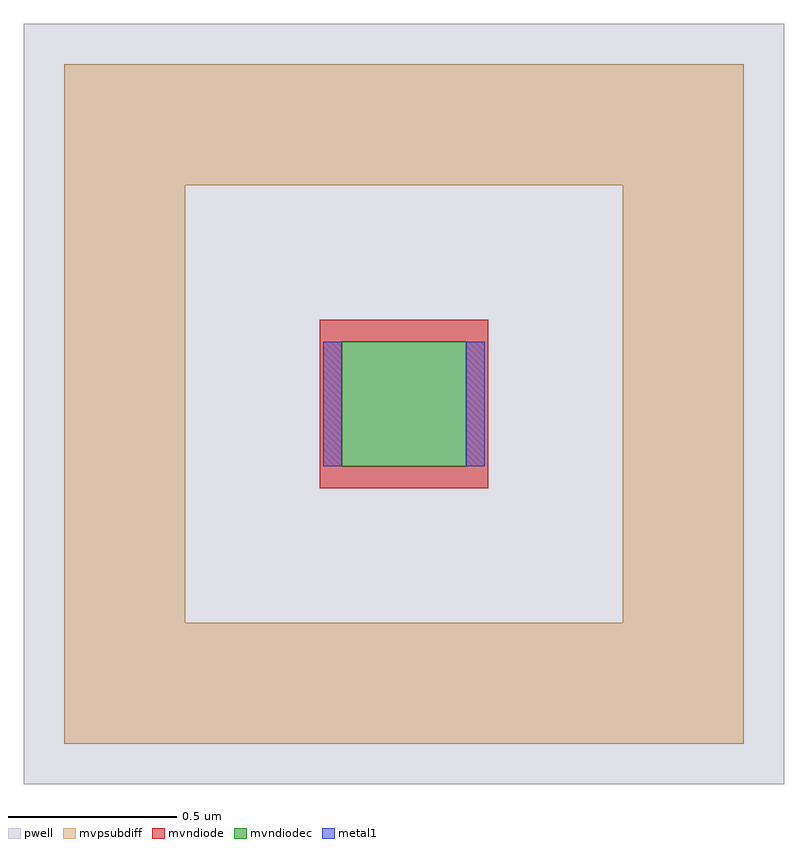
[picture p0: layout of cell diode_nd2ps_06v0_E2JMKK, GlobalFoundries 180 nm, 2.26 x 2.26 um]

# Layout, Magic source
magic
tech gf180mcuD
magscale 1 10
<< pwell >>
rect -226 -226 226 226
<< mvpsubdiff >>
rect -202 130 202 202
rect -202 -130 -130 130
rect 130 -130 202 130
rect -202 -202 202 -130
<< mvndiode >>
rect -50 37 50 50
rect -50 -37 -37 37
rect 37 -37 50 37
rect -50 -50 50 -37
<< mvndiodec >>
rect -37 -37 37 37
<< metal1 >>
rect -48 -37 -37 37
rect 37 -37 48 37
<< properties >>
string FIXED_BBOX -166 -166 166 166
string gencell diode_nd2ps_06v0
string library gf180mcu
string parameters w 0.5 l 0.5 area 250.0m peri 2.0 nx 1 ny 1 dummy 0 lmin 0.45 wmin 0.45 class diode elc 0 erc 0 etc 0 ebc 0 doverlap 0 full_metal 0 compatible {diode_nd2ps_03v3 diode_nd2ps_06v0}
<< end >>
